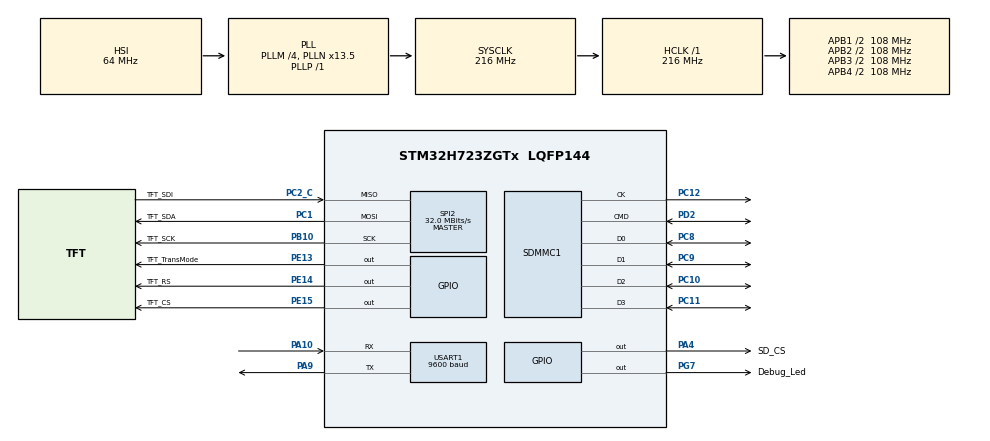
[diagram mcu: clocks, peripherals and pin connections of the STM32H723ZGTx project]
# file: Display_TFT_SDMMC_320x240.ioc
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CORTEX_M7.default_mode_Activation=1
Dma.Request0=SPI2_RX
Dma.Request1=SPI2_TX
Dma.SPI2_RX.0.Direction=DMA_PERIPH_TO_MEMORY
Dma.SPI2_RX.0.EventEnable=DISABLE
Dma.SPI2_RX.0.FIFOMode=DMA_FIFOMODE_DISABLE
Dma.SPI2_RX.0.Instance=DMA1_Stream2
Dma.SPI2_RX.0.MemDataAlignment=DMA_MDATAALIGN_BYTE
Dma.SPI2_RX.0.MemInc=DMA_MINC_ENABLE
Dma.SPI2_RX.0.Mode=DMA_NORMAL
Dma.SPI2_RX.0.PeriphDataAlignment=DMA_PDATAALIGN_BYTE
Dma.SPI2_RX.0.PeriphInc=DMA_PINC_DISABLE
Dma.SPI2_RX.0.Polarity=HAL_DMAMUX_REQ_GEN_RISING
Dma.SPI2_RX.0.Priority=DMA_PRIORITY_LOW
Dma.SPI2_RX.0.RequestNumber=1
Dma.SPI2_RX.0.SignalID=NONE
Dma.SPI2_RX.0.SyncEnable=DISABLE
Dma.SPI2_RX.0.SyncPolarity=HAL_DMAMUX_SYNC_NO_EVENT
Dma.SPI2_RX.0.SyncRequestNumber=1
Dma.SPI2_RX.0.SyncSignalID=NONE
Dma.SPI2_TX.1.Direction=DMA_MEMORY_TO_PERIPH
Dma.SPI2_TX.1.EventEnable=DISABLE
Dma.SPI2_TX.1.FIFOMode=DMA_FIFOMODE_DISABLE
Dma.SPI2_TX.1.Instance=DMA1_Stream3
Dma.SPI2_TX.1.MemDataAlignment=DMA_MDATAALIGN_BYTE
Dma.SPI2_TX.1.MemInc=DMA_MINC_ENABLE
Dma.SPI2_TX.1.Mode=DMA_NORMAL
Dma.SPI2_TX.1.PeriphDataAlignment=DMA_PDATAALIGN_BYTE
Dma.SPI2_TX.1.PeriphInc=DMA_PINC_DISABLE
Dma.SPI2_TX.1.Polarity=HAL_DMAMUX_REQ_GEN_RISING
Dma.SPI2_TX.1.Priority=DMA_PRIORITY_LOW
Dma.SPI2_TX.1.RequestNumber=1
Dma.SPI2_TX.1.SignalID=NONE
Dma.SPI2_TX.1.SyncEnable=DISABLE
Dma.SPI2_TX.1.SyncPolarity=HAL_DMAMUX_SYNC_NO_EVENT
Dma.SPI2_TX.1.SyncRequestNumber=1
Dma.SPI2_TX.1.SyncSignalID=NONE
FATFS._FS_TIMEOUT=10000
FATFS._MAX_SS=4096
FATFS._MULTI_PARTITION=0
FATFS._USE_CHMOD=0
FATFS._USE_LABEL=1
FATFS._USE_LFN=3
Mcu.Family=STM32H7
Mcu.Name=STM32H723ZGTx
Mcu.Package=LQFP144
NVIC.DMA1_Stream2_IRQn=true\:0\:0\:false\:false\:true\:false\:true\:true
NVIC.DMA1_Stream3_IRQn=true\:0\:0\:false\:false\:true\:false\:true\:true
NVIC.PriorityGroup=NVIC_PRIORITYGROUP_4
NVIC.SDMMC1_IRQn=true\:0\:0\:false\:false\:true\:true\:true\:true
NVIC.SPI2_IRQn=true\:0\:0\:false\:false\:true\:false\:true\:true
PA10.Mode=Asynchronous
PA10.Signal=USART1_RX
PA13(JTMS/SWDIO).Mode=Serial_Wire
PA13(JTMS/SWDIO).Signal=DEBUG_JTMS-SWDIO
PA14(JTCK/SWCLK).Mode=Serial_Wire
PA14(JTCK/SWCLK).Signal=DEBUG_JTCK-SWCLK
PA4.GPIO_Label=SD_CS
PA4.PinState=GPIO_PIN_SET
PA4.Signal=GPIO_Output
PA9.Mode=Asynchronous
PA9.Signal=USART1_TX
PB10.GPIO_Label=TFT_SCK
PB10.Mode=Full_Duplex_Master
PB10.Signal=SPI2_SCK
PC1.GPIO_Label=TFT_SDA
PC1.Mode=Full_Duplex_Master
PC1.Signal=SPI2_MOSI
PC10.Mode=SD_4_bits_Wide_bus
PC10.Signal=SDMMC1_D2
PC11.Mode=SD_4_bits_Wide_bus
PC11.Signal=SDMMC1_D3
PC12.Mode=SD_4_bits_Wide_bus
PC12.Signal=SDMMC1_CK
PC2_C.GPIO_Label=TFT_SDI
PC2_C.Mode=Full_Duplex_Master
PC2_C.Signal=SPI2_MISO
PC8.Mode=SD_4_bits_Wide_bus
PC8.Signal=SDMMC1_D0
PC9.Mode=SD_4_bits_Wide_bus
PC9.Signal=SDMMC1_D1
PD2.Mode=SD_4_bits_Wide_bus
PD2.Signal=SDMMC1_CMD
PE13.GPIO_Label=TFT_TransMode
PE13.Signal=GPIO_Output
PE14.GPIO_Label=TFT_RS
PE14.Signal=GPIO_Output
PE15.GPIO_Label=TFT_CS
PE15.Signal=GPIO_Output
PG7.GPIO_Label=Debug_Led
PG7.Signal=GPIO_Output
PH0-OSC_IN.Mode=HSE-External-Oscillator
PH0-OSC_IN.Signal=RCC_OSC_IN
PH1-OSC_OUT.Mode=HSE-External-Oscillator
PH1-OSC_OUT.Signal=RCC_OSC_OUT
ProjectManager.HeapSize=0x200
ProjectManager.StackSize=0x400
ProjectManager.TargetToolchain=STM32CubeIDE
RCC.ADCFreq_Value=96000000
RCC.APB1Freq_Value=108000000
RCC.APB2Freq_Value=108000000
RCC.APB3Freq_Value=108000000
RCC.APB4Freq_Value=108000000
RCC.CortexFreq_Value=216000000
RCC.D1PPRE=RCC_APB3_DIV2
RCC.D2PPRE1=RCC_APB1_DIV2
RCC.D2PPRE2=RCC_APB2_DIV2
RCC.D3PPRE=RCC_APB4_DIV2
RCC.DIVM1=4
RCC.DIVM2=4
RCC.DIVM3=4
RCC.DIVN1=13
RCC.DIVN2=12
RCC.DIVN3=12
RCC.DIVP1=1
RCC.DIVQ1=6
RCC.DIVR2=1
RCC.HCLKFreq_Value=216000000
RCC.PLL2FRACN=0
RCC.PLL3FRACN=0
RCC.PLLFRACN=4096
RCC.SPI123CLockSelection=RCC_SPI123CLKSOURCE_CLKP
RCC.SYSCLKFreq_VALUE=216000000
RCC.SYSCLKSource=RCC_SYSCLKSOURCE_PLLCLK
RCC.USBFreq_Value=36000000
SDMMC1.ClockDiv=3
SPI2.BaudRatePrescaler=SPI_BAUDRATEPRESCALER_2
SPI2.CalculateBaudRate=32.0 MBits/s
SPI2.DataSize=SPI_DATASIZE_8BIT
SPI2.Direction=SPI_DIRECTION_2LINES
SPI2.FirstBit=SPI_FIRSTBIT_MSB
SPI2.Mode=SPI_MODE_MASTER
SPI2.NSSPMode=SPI_NSS_PULSE_DISABLE
SPI2.VirtualType=VM_MASTER
USART1.BaudRate=9600
USART1.VirtualMode-Asynchronous=VM_ASYNC
VP_FATFS_VS_Generic.Mode=User_defined
VP_FATFS_VS_SDIO.Mode=SDIO
VP_LIBJPEG_VS_JPEGLIB.Mode=Enabled
VP_MEMORYMAP_VS_MEMORYMAP.Mode=CurAppReg
board=custom

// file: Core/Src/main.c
/* USER CODE BEGIN Header */
/**
 ******************************************************************************
 * @file           : main.c
 * @brief          : Main program body
 ******************************************************************************
 * @attention
 *
 * Copyright (c) 2025 STMicroelectronics.
 * All rights reserved.
 *
 * This software is licensed under terms that can be found in the LICENSE file
 * in the root directory of this software component.
 * If no LICENSE file comes with this software, it is provided AS-IS.
 *
 ******************************************************************************
 */
/* USER CODE END Header */
#include "main.h"
#include "fatfs.h"
#include "libjpeg.h"

/* USER CODE BEGIN Includes */
#include "display.h"
#include "jpeg_lcd.h"
#include "sdio_benchmark.h"
#include "sdio_functions.h"
/* USER CODE END Includes */

SD_HandleTypeDef hsd1;

SPI_HandleTypeDef hspi2;
DMA_HandleTypeDef hdma_spi2_rx;
DMA_HandleTypeDef hdma_spi2_tx;

UART_HandleTypeDef huart1;

/* USER CODE BEGIN PV */
uint16_t frame_buffer[240][320] __attribute__((aligned(4)));

extern int dma_tx_done_spi2;
extern int dma_rx_done_spi2;
void HAL_SPI_TxCpltCallback(SPI_HandleTypeDef* hspi)
{
    if (hspi == &hspi2)
    { // For TFT display
        dma_tx_done_spi2 = 1;
        HAL_GPIO_WritePin(TFT_CS_GPIO_Port, TFT_CS_Pin, GPIO_PIN_SET);
    }
}

void HAL_SPI_TxRxCpltCallback(SPI_HandleTypeDef* hspi)
{
    if (hspi == &hspi2) // For TFT display
    {
        dma_rx_done_spi2 = 1;
        HAL_GPIO_WritePin(TFT_CS_GPIO_Port, TFT_CS_Pin, GPIO_PIN_SET);
    }
}
/* USER CODE END PV */

void SystemClock_Config(void);
void PeriphCommonClock_Config(void);
static void MPU_Config(void);
static void MX_GPIO_Init(void);
static void MX_DMA_Init(void);
static void MX_SPI2_Init(void);
static void MX_SDMMC1_SD_Init(void);
static void MX_USART1_UART_Init(void);

/* USER CODE BEGIN 0 */

int _write(int fd, unsigned char* buf, int len)
{
    if (fd == 1 || fd == 2)
    {                                              // stdout or stderr ?
        HAL_UART_Transmit(&huart1, buf, len, 999); // Print to the UART
    }
    return len;
}
uint32_t FPS = 0;
/* USER CODE END 0 */

int main(void)
{

  /* USER CODE BEGIN 1 */
    FIL video_f;
    UINT br;
    uint32_t frame_num = 0;

  /* USER CODE END 1 */

  /* MPU Configuration--------------------------------------------------------*/
  MPU_Config();

  /* MCU Configuration--------------------------------------------------------*/

  /* Reset of all peripherals, Initializes the Flash interface and the Systick. */
  HAL_Init();

  /* Configure the system clock */
  SystemClock_Config();

  /* Configure the peripherals common clocks */
  PeriphCommonClock_Config();

  /* Initialize all configured peripherals */
  MX_GPIO_Init();
  MX_DMA_Init();
  MX_FATFS_Init();
  MX_SPI2_Init();
  MX_LIBJPEG_Init();
  MX_SDMMC1_SD_Init();
  MX_USART1_UART_Init();
  /* USER CODE BEGIN 2 */
    LCD_Init(1);
    TFT_AdjustGamma();
    FillScreen(0xf800, 320, 240);
    HAL_Delay(3000);
    //    sd_benchmark();
    uint32_t start_time = 0;
    uint32_t end_time = 0;
    uint32_t period = 0;
    char file_name[100];
    while (1)
    {
        if (sd_mount() == FR_OK)
        {
            break;
        }
    }

#define VIDEO_1

#ifdef VIDEO_1
    while (1)
    {
        if (f_open(&video_f, "fg565be_120s320x240.rgb", FA_READ) == FR_OK)
        {
            break;
        }
    }
    while (1)
    {
        start_time = HAL_GetTick();
        if (!play_video(&video_f, &frame_num))
        {
            HAL_Delay(2000);
            FillScreen(0xf800, 320, 240);
            f_close(&video_f);
            while (1)
            {
                if (f_open(&video_f, "fg565be_120s320x240.rgb", FA_READ) == FR_OK)
                {
                    break;
                }
            }
            frame_num = 0;
            // break;
        }
        end_time = HAL_GetTick();
        period = end_time - start_time;
        FPS = 1000 / period;
    }
#endif

#ifdef VIDEO_2
    uint8_t t = 200;
    while (1)
    {
        if (f_open(&video_f, "FamilyGuy_noAudio.avi", FA_READ) == FR_OK)
        {
            break;
        }
    }
    while (1)
    {
        start_time = HAL_GetTick();
        AVI_video_display(&video_f);
        end_time = HAL_GetTick();
        period = end_time - start_time;
        FPS = 1000 / period;
    }
#endif

#if DISPLAY_BMP_888
    Display_BMP_picture("image1_rgb888le_320x240.bmp");
#endif

#ifdef JPEG
    uint8_t image_id = 1;
#endif
    sd_unmount();
  /* USER CODE END 2 */

  /* Infinite loop */
  /* USER CODE BEGIN WHILE */
    while (1)
    {
//    	printf("hello\n");
//    	HAL_Delay(2000);
#ifdef JPEG
        sprintf(file_name, "image%d_320x240.jpg", image_id);
        STM32_JPEG_DISPLAY(&video_f, file_name);
        HAL_Delay(3000);
        image_id++;
        if (image_id == 11)
        {
            image_id = 1;
        }
#endif

    /* USER CODE END WHILE */

    }
}

void SystemClock_Config(void)
{
  RCC_OscInitTypeDef RCC_OscInitStruct = {0};
  RCC_ClkInitTypeDef RCC_ClkInitStruct = {0};

  /** Supply configuration update enable
  */
  HAL_PWREx_ConfigSupply(PWR_LDO_SUPPLY);

  /** Configure the main internal regulator output voltage
  */
  __HAL_PWR_VOLTAGESCALING_CONFIG(PWR_REGULATOR_VOLTAGE_SCALE0);

  while(!__HAL_PWR_GET_FLAG(PWR_FLAG_VOSRDY)) {}

  /** Initializes the RCC Oscillators according to the specified parameters
  * in the RCC_OscInitTypeDef structure.
  */
  RCC_OscInitStruct.OscillatorType = RCC_OSCILLATORTYPE_HSI;
  RCC_OscInitStruct.HSIState = RCC_HSI_DIV1;
  RCC_OscInitStruct.HSICalibrationValue = 64;
  RCC_OscInitStruct.PLL.PLLState = RCC_PLL_ON;
  RCC_OscInitStruct.PLL.PLLSource = RCC_PLLSOURCE_HSI;
  RCC_OscInitStruct.PLL.PLLM = 4;
  RCC_OscInitStruct.PLL.PLLN = 13;
  RCC_OscInitStruct.PLL.PLLP = 1;
  RCC_OscInitStruct.PLL.PLLQ = 6;
  RCC_OscInitStruct.PLL.PLLR = 2;
  RCC_OscInitStruct.PLL.PLLRGE = RCC_PLL1VCIRANGE_3;
  RCC_OscInitStruct.PLL.PLLVCOSEL = RCC_PLL1VCOWIDE;
  RCC_OscInitStruct.PLL.PLLFRACN = 4096;
  if (HAL_RCC_OscConfig(&RCC_OscInitStruct) != HAL_OK)
  {
    Error_Handler();
  }

  /** Initializes the CPU, AHB and APB buses clocks
  */
  RCC_ClkInitStruct.ClockType = RCC_CLOCKTYPE_HCLK|RCC_CLOCKTYPE_SYSCLK
                              |RCC_CLOCKTYPE_PCLK1|RCC_CLOCKTYPE_PCLK2
                              |RCC_CLOCKTYPE_D3PCLK1|RCC_CLOCKTYPE_D1PCLK1;
  RCC_ClkInitStruct.SYSCLKSource = RCC_SYSCLKSOURCE_PLLCLK;
  RCC_ClkInitStruct.SYSCLKDivider = RCC_SYSCLK_DIV1;
  RCC_ClkInitStruct.AHBCLKDivider = RCC_HCLK_DIV1;
  RCC_ClkInitStruct.APB3CLKDivider = RCC_APB3_DIV2;
  RCC_ClkInitStruct.APB1CLKDivider = RCC_APB1_DIV2;
  RCC_ClkInitStruct.APB2CLKDivider = RCC_APB2_DIV2;
  RCC_ClkInitStruct.APB4CLKDivider = RCC_APB4_DIV2;

  if (HAL_RCC_ClockConfig(&RCC_ClkInitStruct, FLASH_LATENCY_3) != HAL_OK)
  {
    Error_Handler();
  }
}

void PeriphCommonClock_Config(void)
{
  RCC_PeriphCLKInitTypeDef PeriphClkInitStruct = {0};

  /** Initializes the peripherals clock
  */
  PeriphClkInitStruct.PeriphClockSelection = RCC_PERIPHCLK_CKPER;
  PeriphClkInitStruct.CkperClockSelection = RCC_CLKPSOURCE_HSI;
  if (HAL_RCCEx_PeriphCLKConfig(&PeriphClkInitStruct) != HAL_OK)
  {
    Error_Handler();
  }
}

static void MX_SDMMC1_SD_Init(void)
{

  hsd1.Instance = SDMMC1;
  hsd1.Init.ClockEdge = SDMMC_CLOCK_EDGE_RISING;
  hsd1.Init.ClockPowerSave = SDMMC_CLOCK_POWER_SAVE_DISABLE;
  hsd1.Init.BusWide = SDMMC_BUS_WIDE_4B;
  hsd1.Init.HardwareFlowControl = SDMMC_HARDWARE_FLOW_CONTROL_DISABLE;
  hsd1.Init.ClockDiv = 3;
  if (HAL_SD_Init(&hsd1) != HAL_OK)
  {
    Error_Handler();
  }

}

static void MX_SPI2_Init(void)
{

  /* SPI2 parameter configuration*/
  hspi2.Instance = SPI2;
  hspi2.Init.Mode = SPI_MODE_MASTER;
  hspi2.Init.Direction = SPI_DIRECTION_2LINES;
  hspi2.Init.DataSize = SPI_DATASIZE_8BIT;
  hspi2.Init.CLKPolarity = SPI_POLARITY_LOW;
  hspi2.Init.CLKPhase = SPI_PHASE_1EDGE;
  hspi2.Init.NSS = SPI_NSS_SOFT;
  hspi2.Init.BaudRatePrescaler = SPI_BAUDRATEPRESCALER_2;
  hspi2.Init.FirstBit = SPI_FIRSTBIT_MSB;
  hspi2.Init.TIMode = SPI_TIMODE_DISABLE;
  hspi2.Init.CRCCalculation = SPI_CRCCALCULATION_DISABLE;
  hspi2.Init.CRCPolynomial = 0x0;
  hspi2.Init.NSSPMode = SPI_NSS_PULSE_DISABLE;
  hspi2.Init.NSSPolarity = SPI_NSS_POLARITY_LOW;
  hspi2.Init.FifoThreshold = SPI_FIFO_THRESHOLD_01DATA;
  hspi2.Init.TxCRCInitializationPattern = SPI_CRC_INITIALIZATION_ALL_ZERO_PATTERN;
  hspi2.Init.RxCRCInitializationPattern = SPI_CRC_INITIALIZATION_ALL_ZERO_PATTERN;
  hspi2.Init.MasterSSIdleness = SPI_MASTER_SS_IDLENESS_00CYCLE;
  hspi2.Init.MasterInterDataIdleness = SPI_MASTER_INTERDATA_IDLENESS_00CYCLE;
  hspi2.Init.MasterReceiverAutoSusp = SPI_MASTER_RX_AUTOSUSP_DISABLE;
  hspi2.Init.MasterKeepIOState = SPI_MASTER_KEEP_IO_STATE_DISABLE;
  hspi2.Init.IOSwap = SPI_IO_SWAP_DISABLE;
  if (HAL_SPI_Init(&hspi2) != HAL_OK)
  {
    Error_Handler();
  }

}

static void MX_USART1_UART_Init(void)
{

  huart1.Instance = USART1;
  huart1.Init.BaudRate = 9600;
  huart1.Init.WordLength = UART_WORDLENGTH_8B;
  huart1.Init.StopBits = UART_STOPBITS_1;
  huart1.Init.Parity = UART_PARITY_NONE;
  huart1.Init.Mode = UART_MODE_TX_RX;
  huart1.Init.HwFlowCtl = UART_HWCONTROL_NONE;
  huart1.Init.OverSampling = UART_OVERSAMPLING_16;
  huart1.Init.OneBitSampling = UART_ONE_BIT_SAMPLE_DISABLE;
  huart1.Init.ClockPrescaler = UART_PRESCALER_DIV1;
  huart1.AdvancedInit.AdvFeatureInit = UART_ADVFEATURE_NO_INIT;
  if (HAL_UART_Init(&huart1) != HAL_OK)
  {
    Error_Handler();
  }
  if (HAL_UARTEx_SetTxFifoThreshold(&huart1, UART_TXFIFO_THRESHOLD_1_8) != HAL_OK)
  {
    Error_Handler();
  }
  if (HAL_UARTEx_SetRxFifoThreshold(&huart1, UART_RXFIFO_THRESHOLD_1_8) != HAL_OK)
  {
    Error_Handler();
  }
  if (HAL_UARTEx_DisableFifoMode(&huart1) != HAL_OK)
  {
    Error_Handler();
  }

}

static void MX_DMA_Init(void)
{

  /* DMA controller clock enable */
  __HAL_RCC_DMA1_CLK_ENABLE();

  /* DMA interrupt init */
  /* DMA1_Stream2_IRQn interrupt configuration */
  HAL_NVIC_SetPriority(DMA1_Stream2_IRQn, 0, 0);
  HAL_NVIC_EnableIRQ(DMA1_Stream2_IRQn);
  /* DMA1_Stream3_IRQn interrupt configuration */
  HAL_NVIC_SetPriority(DMA1_Stream3_IRQn, 0, 0);
  HAL_NVIC_EnableIRQ(DMA1_Stream3_IRQn);

}

static void MX_GPIO_Init(void)
{
  GPIO_InitTypeDef GPIO_InitStruct = {0};

  /* GPIO Ports Clock Enable */
  __HAL_RCC_GPIOH_CLK_ENABLE();
  __HAL_RCC_GPIOC_CLK_ENABLE();
  __HAL_RCC_GPIOA_CLK_ENABLE();
  __HAL_RCC_GPIOE_CLK_ENABLE();
  __HAL_RCC_GPIOB_CLK_ENABLE();
  __HAL_RCC_GPIOG_CLK_ENABLE();
  __HAL_RCC_GPIOD_CLK_ENABLE();

  /*Configure GPIO pin Output Level */
  HAL_GPIO_WritePin(SD_CS_GPIO_Port, SD_CS_Pin, GPIO_PIN_SET);

  /*Configure GPIO pin Output Level */
  HAL_GPIO_WritePin(GPIOE, TFT_TransMode_Pin|TFT_RS_Pin|TFT_CS_Pin, GPIO_PIN_RESET);

  /*Configure GPIO pin Output Level */
  HAL_GPIO_WritePin(Debug_Led_GPIO_Port, Debug_Led_Pin, GPIO_PIN_RESET);

  /*Configure GPIO pin : SD_CS_Pin */
  GPIO_InitStruct.Pin = SD_CS_Pin;
  GPIO_InitStruct.Mode = GPIO_MODE_OUTPUT_PP;
  GPIO_InitStruct.Pull = GPIO_NOPULL;
  GPIO_InitStruct.Speed = GPIO_SPEED_FREQ_LOW;
  HAL_GPIO_Init(SD_CS_GPIO_Port, &GPIO_InitStruct);

  /*Configure GPIO pins : TFT_TransMode_Pin TFT_RS_Pin TFT_CS_Pin */
  GPIO_InitStruct.Pin = TFT_TransMode_Pin|TFT_RS_Pin|TFT_CS_Pin;
  GPIO_InitStruct.Mode = GPIO_MODE_OUTPUT_PP;
  GPIO_InitStruct.Pull = GPIO_NOPULL;
  GPIO_InitStruct.Speed = GPIO_SPEED_FREQ_LOW;
  HAL_GPIO_Init(GPIOE, &GPIO_InitStruct);

  /*Configure GPIO pin : Debug_Led_Pin */
  GPIO_InitStruct.Pin = Debug_Led_Pin;
  GPIO_InitStruct.Mode = GPIO_MODE_OUTPUT_PP;
  GPIO_InitStruct.Pull = GPIO_NOPULL;
  GPIO_InitStruct.Speed = GPIO_SPEED_FREQ_LOW;
  HAL_GPIO_Init(Debug_Led_GPIO_Port, &GPIO_InitStruct);

}

 /* MPU Configuration */

void MPU_Config(void)
{
  MPU_Region_InitTypeDef MPU_InitStruct = {0};

  /* Disables the MPU */
  HAL_MPU_Disable();

  /** Initializes and configures the Region and the memory to be protected
  */
  MPU_InitStruct.Enable = MPU_REGION_ENABLE;
  MPU_InitStruct.Number = MPU_REGION_NUMBER0;
  MPU_InitStruct.BaseAddress = 0x0;
  MPU_InitStruct.Size = MPU_REGION_SIZE_4GB;
  MPU_InitStruct.SubRegionDisable = 0x87;
  MPU_InitStruct.TypeExtField = MPU_TEX_LEVEL0;
  MPU_InitStruct.AccessPermission = MPU_REGION_NO_ACCESS;
  MPU_InitStruct.DisableExec = MPU_INSTRUCTION_ACCESS_DISABLE;
  MPU_InitStruct.IsShareable = MPU_ACCESS_SHAREABLE;
  MPU_InitStruct.IsCacheable = MPU_ACCESS_NOT_CACHEABLE;
  MPU_InitStruct.IsBufferable = MPU_ACCESS_NOT_BUFFERABLE;

  HAL_MPU_ConfigRegion(&MPU_InitStruct);
  /* Enables the MPU */
  HAL_MPU_Enable(MPU_PRIVILEGED_DEFAULT);

}

void Error_Handler(void)
{
    __disable_irq();
    while (1)
    {
    }
}
